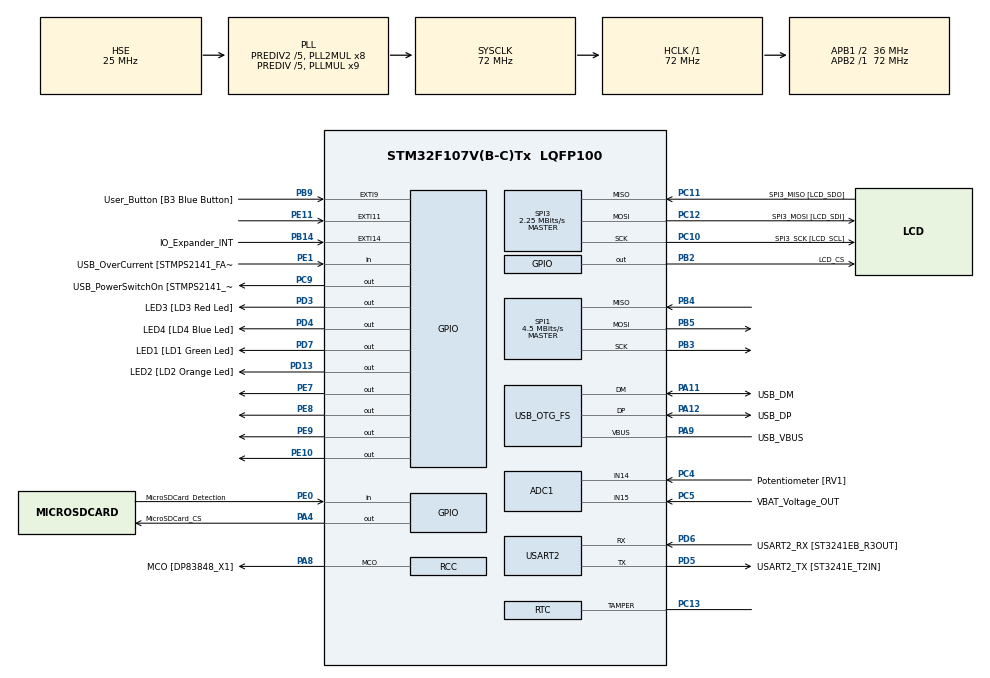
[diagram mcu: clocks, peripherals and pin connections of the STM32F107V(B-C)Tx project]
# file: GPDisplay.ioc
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Dma.SPI1_TX.1.Priority=DMA_PRIORITY_VERY_HIGH
PD12.GPIO_Label=MII_RXD3 [DP83848_RXD_3]
PD1.GPIO_Mode=GPIO_MODE_AF_PP
PB15.GPIO_Mode=GPIO_MODE_AF_PP
SPI3.Direction=SPI_DIRECTION_2LINES
PC10.GPIO_PuPd=GPIO_NOPULL
SPI3.VirtualType=VM_MASTER
FATFS._USE_LFN=1
SPI1.VirtualType=VM_MASTER
PA8.GPIO_Mode=GPIO_MODE_AF_PP
RCC.Prediv2=RCC_HSE_PREDIV2_DIV5
PA10.GPIO_PuPd=GPIO_NOPULL
PC12.Signal=SPI3_MOSI
PB14.GPIO_Label=IO_Expander_INT
PA14.GPIO_Label=TCK/SWCLK
PA3.GPIO_PuPd=GPIO_NOPULL
PC6.GPIO_Label=I2S_MCK [CS43L22_MCLK]
VP_RTC_VS_RTC_Activate.Mode=RTC_Enabled
PA6.GPIO_Label=IDD_Measurement
PB6.GPIO_Label=I2C1_SCK [STMPE811_SCLK]
PD10.GPIO_PuPd=GPIO_NOPULL
PA3.GPIO_Speed=GPIO_SPEED_FREQ_LOW
PB13.Signal=ETH_TXD1
PD3.GPIO_Speed=GPIO_SPEED_FREQ_LOW
PD6.GPIO_Label=USART2_RX [ST3241EB_R3OUT]
PC15-OSC32_OUT.GPIO_Label=PC15-OSC32_OUT
PE6.GPIO_Label=TRACE_D3
PC3.GPIO_Speed=GPIO_SPEED_FREQ_LOW
RCC.SYSCLKSource=RCC_SYSCLKSOURCE_PLLCLK
PA6.GPIO_Mode=GPIO_MODE_ANALOG
PB11.GPIO_Speed=GPIO_SPEED_FREQ_LOW
NVIC.DMA1_Channel3_IRQn=true\:0\:0\:false\:false\:true\:false\:true
PB7.GPIO_Mode=GPIO_MODE_AF_OD
Dma.SPI1_RX.0.Direction=DMA_PERIPH_TO_MEMORY
PD7.GPIO_PuPd=GPIO_NOPULL
SPI1.Direction=SPI_DIRECTION_2LINES
PB13.GPIO_Mode=GPIO_MODE_AF_PP
PD4.Signal=GPIO_Output
RCC.APB2TimFreq_Value=72000000
PC4.GPIO_Mode=GPIO_MODE_ANALOG
PB6.Signal=I2C1_SCL
SPI1.CalculateBaudRate=4.5 MBits/s
PC3.Signal=ETH_TX_CLK
PD0.Signal=CAN1_RX
PD8.Signal=ETH_RX_DV
PE5.Signal=SYS_TRACED2
PE1.Signal=GPIO_Input
PA1.GPIO_PuPd=GPIO_NOPULL
Dma.SPI1_TX.1.PeriphDataAlignment=DMA_PDATAALIGN_BYTE
PB2.Signal=GPIO_Output
PB3.Mode=Full_Duplex_Master
PC1.GPIO_PuPd=GPIO_NOPULL
SH.ADCx_IN15.0=ADC1_IN15,IN15
RCC.RTCClockSelection=RCC_RTCCLKSOURCE_LSE
PD1.GPIO_Label=CAN1_TX [SN65HVD230_D]
PB12.GPIO_Label=MII_TXD0/I2S_CMD [DP83848_TXD_0/CS43L22_LRCK]
Dma.SPI1_RX.0.PeriphInc=DMA_PINC_DISABLE
PC4.GPIO_Label=Potentiometer [RV1]
Dma.SPI1_TX.1.Mode=DMA_NORMAL
PE9.Signal=GPIO_Output
PD1.GPIO_Speed=GPIO_SPEED_FREQ_LOW
PD11.GPIO_Mode=GPIO_MODE_AF_PP
PE4.GPIO_Label=TRACE_D1
PA0-WKUP.GPIO_Mode=GPIO_MODE_AF_PP
PC11.GPIO_Speed=N/A
PD5.GPIO_Mode=GPIO_MODE_AF_PP
PD4.GPIO_ModeDefaultOutputPP=GPIO_MODE_OUTPUT_PP
PE2.Signal=SYS_TRACECLK
PA8.Signal=RCC_MCO
PE10.Signal=GPIO_Output
PB6.GPIO_PuPdOD=GPIO_PULLUP
PB2.GPIO_PuPd=GPIO_NOPULL
ADC1.SamplingTime-0\#ChannelRegularConversion=ADC_SAMPLETIME_1CYCLE_5
RCC.Prediv1Source=RCC_PREDIV1_SOURCE_PLL2
Mcu.Package=LQFP100
PB9.Signal=GPXTI9
PB14.GPIO_PuPd=GPIO_PULLUP
SPI3.Mode=SPI_MODE_MASTER
SH.ADCx_IN14.0=ADC1_IN14,IN14
PD12.Signal=ETH_RXD3
PA10.Signal=USB_OTG_FS_ID
PB9.GPIO_PuPd=GPIO_NOPULL
PC6.GPIO_PuPd=GPIO_NOPULL
PC11.Mode=Full_Duplex_Master
PC2.GPIO_Mode=GPIO_MODE_AF_PP
RCC.APB1TimFreq_Value=72000000
PD5.GPIO_Speed=GPIO_SPEED_FREQ_LOW
PC12.GPIO_PuPd=GPIO_NOPULL
PD3.GPIO_PuPd=GPIO_NOPULL
PB11.GPIO_Mode=GPIO_MODE_AF_PP
PD9.GPIO_PuPd=GPIO_NOPULL
PB2.GPIO_ModeDefaultOutputPP=GPIO_MODE_OUTPUT_PP
PA4.GPIO_Label=MicroSDCard_CS
PC6.GPIO_Speed=GPIO_SPEED_FREQ_LOW
PA8.GPIO_Speed=GPIO_SPEED_FREQ_HIGH
Dma.SPI1_TX.1.Instance=DMA1_Channel3
PA2.GPIO_Mode=GPIO_MODE_AF_PP
PB14.GPIO_ModeDefaultEXTI=GPIO_MODE_EVT_RISING
PD8.GPIO_Mode=GPIO_MODE_AF_PP
ADC1.Rank-0\#ChannelRegularConversion=1
PD9.GPIO_Label=MII_RXD0 [DP83848_RXD_0]
PA1.GPIO_Mode=GPIO_MODE_AF_PP
SH.ADCx_IN6.0=ADC1_IN6
PA9.GPIO_Label=USB_VBUS
PD3.Signal=GPIO_Output
PD9.GPIO_Mode=GPIO_MODE_AF_PP
PB8.GPIO_PuPd=GPIO_NOPULL
PC6.Signal=I2S2_MCK
PC2.Signal=ETH_TXD2
PB11.GPIO_Label=MII_TX_EN [DP83848_TX_EN]
PC9.PinState=GPIO_PIN_SET
PD7.Signal=GPIO_Output
PD1.Signal=CAN1_TX
PA11.GPIO_Label=USB_DM
PE1.GPIO_PuPd=GPIO_NOPULL
PD1.GPIO_PuPd=GPIO_NOPULL
RCC.APB1CLKDivider=RCC_HCLK_DIV2
PC14-OSC32_IN.Signal=RCC_OSC32_IN
PD6.Mode=Asynchronous
PA0-WKUP.GPIO_Label=MII_CRS [DP83848_CRS]
PA0-WKUP.Signal=ETH_CRS
PD0.GPIO_Speed=GPIO_SPEED_FREQ_LOW
USB_HOST0.BSP.STBoard=false
PD10.Signal=ETH_RXD1
PC10.GPIO_Mode=GPIO_MODE_AF_PP
PB8.GPIO_Label=MII_TXD3 [DP83848_TXD_3]
Dma.SPI1_TX.1.MemDataAlignment=DMA_MDATAALIGN_BYTE
PA8.GPIO_Label=MCO [DP83848_X1]
PD11.GPIO_Speed=GPIO_SPEED_FREQ_LOW
PA9.Signal=USB_OTG_FS_VBUS
PB13.GPIO_Speed=GPIO_SPEED_FREQ_LOW
OSC_IN.Signal=RCC_OSC_IN
PB14.Signal=GPXTI14
PC12.Mode=Full_Duplex_Master
PE1.GPIO_Label=USB_OverCurrent [STMPS2141_FAULT]
USB_HOST.VirtualModeFS=Cdc
PC13-TAMPER-RTC.Mode=Tamper
PB13.GPIO_PuPd=GPIO_NOPULL
PB15.GPIO_Label=I2S_DIN [CS43L22_SDIN]
PE8.Signal=GPIO_Output
SPI1.Mode=SPI_MODE_MASTER
PD4.GPIO_Speed=GPIO_SPEED_FREQ_LOW
PC11.GPIO_Mode=GPIO_MODE_INPUT
PA1.GPIO_Label=MII_RX_CLK [DP83848_RX_CLK]
Dma.SPI1_RX.0.PeriphDataAlignment=DMA_PDATAALIGN_HALFWORD
PC9.GPIO_PuPd=GPIO_NOPULL
PC1.GPIO_Speed=GPIO_SPEED_FREQ_LOW
PC6.GPIO_Mode=GPIO_MODE_AF_PP
PB7.GPIO_PuPdOD=GPIO_PULLUP
PA13.Mode=Serial_Wire
PA4.Signal=GPIO_Output
PC12.GPIO_Mode=GPIO_MODE_AF_PP
PB5.Signal=SPI1_MOSI
ADC1.master=1
OSC_IN.Mode=HSE-External-Oscillator
PD11.Signal=ETH_RXD2
RCC.HSEDivPLL=RCC_HSE_PREDIV_DIV5
PE5.GPIO_Label=TRACE_D2
PC12.GPIO_Label=SPI3_MOSI [LCD_SDI]
PA11.Signal=USB_OTG_FS_DM
PC5.GPIO_Mode=GPIO_MODE_ANALOG
ProjectManager.HeapSize=0x200
PD0.GPIO_PuPd=GPIO_PULLUP
Dma.SPI1_RX.0.Priority=DMA_PRIORITY_VERY_HIGH
PD8.GPIO_Speed=GPIO_SPEED_FREQ_LOW
USB_HOST.USBH_HandleTypeDef=hUsbHostFS
PC9.GPIO_Speed=GPIO_SPEED_FREQ_LOW
NVIC.PriorityGroup=NVIC_PRIORITYGROUP_4
PE3.Signal=SYS_TRACED0
PC3.GPIO_Label=MII_TX_CLK [DP83848_TX_CLK]
PA0-WKUP.GPIO_PuPd=GPIO_NOPULL
PA8.Mode=Clock-out
PB6.GPIO_Speed=GPIO_SPEED_FREQ_LOW
PB12.GPIO_PuPd=GPIO_NOPULL
USB_HOST0.BSP.mode=Output
PE0.GPIO_Mode=GPIO_MODE_INPUT
PC1.Signal=ETH_MDC
Mcu.Family=STM32F1
PC3.GPIO_Mode=GPIO_MODE_AF_PP
PA2.GPIO_PuPd=GPIO_NOPULL
OSC_OUT.GPIO_Label=OSC_OUT
PB6.GPIO_Mode=GPIO_MODE_AF_OD
PC10.Signal=SPI3_SCK
PB2.GPIO_Speed=GPIO_SPEED_FREQ_LOW
PA2.GPIO_Speed=GPIO_SPEED_FREQ_LOW
PD9.GPIO_Speed=GPIO_SPEED_FREQ_LOW
Dma.SPI1_TX.1.PeriphInc=DMA_PINC_DISABLE
PD0.GPIO_Label=CAN1_RX [SN65HVD230_R]
PA11.Mode=Host_Only
PC10.GPIO_Speed=GPIO_SPEED_FREQ_LOW
PC2.GPIO_Speed=GPIO_SPEED_FREQ_LOW
PB11.GPIO_PuPd=GPIO_NOPULL
PB13.GPIO_Label=MII_TXD1/I2S_CK [DP83848_TXD_1/CS43L22_SCLK]
PD8.GPIO_PuPd=GPIO_NOPULL
PB11.Signal=ETH_TX_EN
PB15.Signal=I2S2_SD
ProjectManager.StackSize=0x400
PD13.Signal=GPIO_Output
PD11.GPIO_PuPd=GPIO_NOPULL
PA15.GPIO_Label=TDI
PC11.GPIO_PuPd=GPIO_NOPULL
PA12.Signal=USB_OTG_FS_DP
PE1.GPIO_Mode=GPIO_MODE_INPUT
PD11.GPIO_Label=MII_RXD2 [DP83848_RXD_2]
RCC.HCLKFreq_Value=72000000
PB9.GPIO_ModeDefaultEXTI=GPIO_MODE_EVT_RISING
OSC_OUT.Mode=HSE-External-Oscillator
USB_HOST0.BSP.ip=GPIO
OSC_OUT.Signal=RCC_OSC_OUT
RCC.AHBFreq_Value=72000000
PD5.Mode=Asynchronous
PA9.GPIO_Mode=GPIO_MODE_INPUT
PC1.GPIO_Mode=GPIO_MODE_AF_PP
ADC1.Channel-0\#ChannelRegularConversion=ADC_CHANNEL_14
RCC.HSE_VALUE=25000000
PA0-WKUP.GPIO_Speed=GPIO_SPEED_FREQ_LOW
PA4.GPIO_PuPd=GPIO_NOPULL
RCC.PLLMUL=RCC_PLL_MUL9
PA4.GPIO_Speed=GPIO_SPEED_FREQ_LOW
PD7.GPIO_Speed=GPIO_SPEED_FREQ_LOW
PA6.GPIO_PuPd=GPIO_NOPULL
PB4.Mode=Full_Duplex_Master
PC14-OSC32_IN.Mode=LSE-External-Oscillator
PA14.Mode=Serial_Wire
PC11.GPIO_Label=SPI3_MISO [LCD_SDO]
PB5.Mode=Full_Duplex_Master
PA10.GPIO_Label=USB_ID
PB7.Signal=I2C1_SDA
PD10.GPIO_Speed=GPIO_SPEED_FREQ_LOW
USB_HOST0.BSP.i2creg=0
PE4.Signal=SYS_TRACED1
PD12.GPIO_Mode=GPIO_MODE_AF_PP
PD7.GPIO_Label=LED1 [LD1 Green Led]
PD6.GPIO_Mode=GPIO_MODE_AF_PP
PB7.GPIO_Label=I2C1_SDA [STMPE811_SDA]
USB_HOST0.BSP.i2caddr=0
PB12.GPIO_Mode=GPIO_MODE_AF_PP
PD13.GPIO_Label=LED2 [LD2 Orange Led]
PA6.Signal=ADCx_IN6
PB15.GPIO_PuPd=GPIO_NOPULL
USART2.VirtualMode=VM_ASYNC
PD5.GPIO_Label=USART2_TX [ST3241E_T2IN]
NVIC.OTG_FS_IRQn=true\:0\:0\:false\:false\:true\:true\:true
PA2.GPIO_Label=MII_MDIO [DP83848_MDIO]
USB_OTG_FS.VirtualMode=Host_Only
PA15.Signal=SYS_JTDI
PA4.GPIO_ModeDefaultOutputPP=GPIO_MODE_OUTPUT_PP
PE0.GPIO_Label=MicroSDCard_Detection
USB_HOST0.BSP.name=Drive_VBUS_FS
Dma.Request1=SPI1_TX
PD0.GPIO_Mode=GPIO_MODE_INPUT
PC14-OSC32_IN.GPIO_Label=PC14-OSC32_IN
PC5.Signal=ADCx_IN15
PD3.GPIO_Label=LED3 [LD3 Red Led]
PE7.Signal=GPIO_Output
PD6.Signal=USART2_RX
Dma.Request0=SPI1_RX
SPI1.BaudRatePrescaler=SPI_BAUDRATEPRESCALER_16
OSC_IN.GPIO_Label=OSC_IN
PC2.GPIO_Label=MII_TXD2 [DP83848_TXD_2]
PE2.GPIO_Label=TRACE_CK
PB4.Signal=SPI1_MISO
PA3.Signal=ETH_COL
PB7.GPIO_Speed=GPIO_SPEED_FREQ_LOW
PE0.GPIO_PuPd=GPIO_PULLUP
PC15-OSC32_OUT.Mode=LSE-External-Oscillator
Dma.SPI1_TX.1.MemInc=DMA_MINC_ENABLE
PD12.GPIO_Speed=GPIO_SPEED_FREQ_LOW
PB9.GPIO_Label=User_Button [B3 Blue Button]
PC10.GPIO_Label=SPI3_SCK [LCD_SCL]
PC9.GPIO_Label=USB_PowerSwitchOn [STMPS2141_EN]
PC4.GPIO_PuPd=GPIO_NOPULL
PC11.Signal=SPI3_MISO
USB_HOST0.BSP.solution=PC9
PC4.Signal=ADCx_IN14
PC10.Mode=Full_Duplex_Master
USB_HOST.BSP.number=1
PC13-TAMPER-RTC.Signal=RTC_TAMPER
PD9.Signal=ETH_RXD0
PD5.Signal=USART2_TX
Dma.SPI1_RX.0.Mode=DMA_CIRCULAR
PC5.GPIO_PuPd=GPIO_NOPULL
Dma.SPI1_TX.1.Direction=DMA_MEMORY_TO_PERIPH
PA9.GPIO_PuPd=GPIO_NOPULL
PA12.GPIO_Label=USB_DP
PD8.GPIO_Label=MII_RX_DV [DP83848_RX_DV]
PA10.GPIO_Mode=GPIO_MODE_INPUT
RCC.ADCPresc=RCC_ADCPCLK2_DIV6
PD10.GPIO_Mode=GPIO_MODE_AF_PP
PA13.Signal=SYS_JTMS-SWDIO
PD4.GPIO_PuPd=GPIO_NOPULL
PA9.Mode=Activate_VBUS
NVIC.DMA1_Channel2_IRQn=true\:0\:0\:false\:false\:true\:false\:true
ProjectManager.TargetToolchain=STM32CubeIDE
PA3.GPIO_Mode=GPIO_MODE_AF_PP
RCC.USBFreq_Value=48000000
PD10.GPIO_Label=MII_RXD1 [DP83848_RXD_1]
PE11.Signal=GPXTI11
PC15-OSC32_OUT.Signal=RCC_OSC32_OUT
PA1.Signal=ETH_RX_CLK
PB12.GPIO_Speed=GPIO_SPEED_FREQ_LOW
VP_FATFS_VS_Generic.Mode=User_defined
board=STM3210C-EVAL
PD13.GPIO_Speed=GPIO_SPEED_FREQ_LOW
RCC.APB2Freq_Value=72000000
USB_HOST0.BSP.api=Unknown
SPI3.CalculateBaudRate=2.25 MBits/s
PD4.GPIO_Label=LED4 [LD4 Blue Led]
PA1.GPIO_Speed=GPIO_SPEED_FREQ_LOW
PB15.GPIO_Speed=GPIO_SPEED_FREQ_LOW
Dma.SPI1_RX.0.Instance=DMA1_Channel2
PC9.GPIO_ModeDefaultOutputPP=GPIO_MODE_OUTPUT_PP
SPI3.BaudRatePrescaler=SPI_BAUDRATEPRESCALER_16
PC1.GPIO_Label=MII_MDC [DP83848_MDC]
RCC.RCC_MCOSource=RCC_MCO1SOURCE_HSE
PD13.GPIO_PuPd=GPIO_NOPULL
PD5.GPIO_PuPd=GPIO_PULLUP
Dma.SPI1_RX.0.MemDataAlignment=DMA_MDATAALIGN_HALFWORD
PC2.GPIO_PuPd=GPIO_NOPULL
PE6.Signal=SYS_TRACED3
Mcu.Name=STM32F107V(B-C)Tx
PE0.Signal=GPIO_Input
Dma.SPI1_RX.0.MemInc=DMA_MINC_ENABLE
PA2.Signal=ETH_MDIO
PA13.GPIO_Label=TMS/SWDIO
FATFS._MAX_SS=4096
PB3.Signal=SPI1_SCK
RCC.SYSCLKFreq_VALUE=72000000
PA12.Mode=Host_Only
VP_USB_HOST_VS_USB_HOST_CDC_FS.Mode=CDC_FS
PC5.GPIO_Label=VBAT_Voltage_OUT
PD13.GPIO_ModeDefaultOutputPP=GPIO_MODE_OUTPUT_PP
PA14.Signal=SYS_JTCK-SWCLK
PB2.GPIO_Label=LCD_CS
PD3.GPIO_ModeDefaultOutputPP=GPIO_MODE_OUTPUT_PP
PA8.GPIO_PuPd=GPIO_NOPULL
ADC1.NbrOfConversionFlag=1
PB8.Signal=ETH_TXD3
PE3.GPIO_Label=TRACE_D0
PC9.Signal=GPIO_Output
PB8.GPIO_Mode=GPIO_MODE_AF_PP
RCC.APB1Freq_Value=36000000
PB8.GPIO_Speed=GPIO_SPEED_FREQ_LOW
PC12.GPIO_Speed=GPIO_SPEED_FREQ_LOW
PD6.GPIO_Speed=GPIO_SPEED_FREQ_LOW
PD7.GPIO_ModeDefaultOutputPP=GPIO_MODE_OUTPUT_PP
PB12.Signal=ETH_TXD0
PC3.GPIO_PuPd=GPIO_NOPULL
PD12.GPIO_PuPd=GPIO_NOPULL
PA3.GPIO_Label=MII_COL [DP83848_COL]
PD6.GPIO_PuPd=GPIO_PULLUP
USB_HOST0.BSP.instance=PC9

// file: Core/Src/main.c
/* USER CODE BEGIN Header */
/**
 ******************************************************************************
 * @file           : main.c
 * @brief          : Main program body
 ******************************************************************************
 * @attention
 *
 * <h2><center>&copy; Copyright (c) 2021 STMicroelectronics.
 * All rights reserved.</center></h2>
 *
 * This software component is licensed by ST under Ultimate Liberty license
 * SLA0044, the "License"; You may not use this file except in compliance with
 * the License. You may obtain a copy of the License at:
 *                             www.st.com/SLA0044
 *
 ******************************************************************************
 */
/* USER CODE END Header */
#include "main.h"
#include "fatfs.h"

/* USER CODE BEGIN Includes */
#include <stdio.h>
#include <stdlib.h>
#include <time.h>
/* USER CODE END Includes */

ADC_HandleTypeDef hadc1;

RTC_HandleTypeDef hrtc;

SPI_HandleTypeDef hspi1;
SPI_HandleTypeDef hspi3;
DMA_HandleTypeDef hdma_spi1_rx;
DMA_HandleTypeDef hdma_spi1_tx;

UART_HandleTypeDef huart2;

void SystemClock_Config(void);
static void MX_GPIO_Init(void);
static void MX_DMA_Init(void);
static void MX_ADC1_Init(void);
static void MX_RTC_Init(void);
static void MX_USART2_UART_Init(void);
static void MX_SPI1_Init(void);
static void MX_SPI3_Init(void);

/* USER CODE BEGIN 0 */
uint8_t SPI_DMA_FL = 0;
uint32_t SPI_DMA_CNT = 1;

/* USER CODE END 0 */

int main(void) {

	/* MCU Configuration--------------------------------------------------------*/

	/* Reset of all peripherals, Initializes the Flash interface and the Systick. */
	HAL_Init();
	srand((unsigned int) time(NULL));

	/* Configure the system clock */
	SystemClock_Config();

	/* USER CODE BEGIN SysInit */
	state = MAINMENU;
	oldState = MAINMENU;
	/* USER CODE END SysInit */

	/* Initialize all configured peripherals */
	MX_GPIO_Init();
	MX_DMA_Init();
	MX_ADC1_Init();
	MX_RTC_Init();
	MX_USART2_UART_Init();
	MX_SPI1_Init();
	MX_FATFS_Init();
	MX_SPI3_Init();
	/* USER CODE BEGIN 2 */
	X = -50.0;
	GUI_init();
	ILI9163_newFrame();
	sd_init();
	scan_sd("/");
	HAL_NVIC_SetPriority(EXTI15_10_IRQn, 1, 0);
	HAL_NVIC_EnableIRQ(EXTI15_10_IRQn);

/*

	if(fresult != FR_OK)
		ILI9163_drawString(0, 10, Font_7x10, GREEN, "error in mounting sd");
	else
		ILI9163_drawString(0, 20, Font_7x10, GREEN, "Success ");

	  	f_getfree("", &fre_clust, &pfs);

	  	total = (uint32_t)((pfs->n_fatent - 2) * pfs->csize * 0.5);
	  	sprintf (buffer, "Total Size: %lu",total);
	  	ILI9163_drawString(0, 30, Font_7x10, GREEN,buffer);
	  	bufclear();
	  	free_space = (uint32_t)(fre_clust * pfs->csize * 0.5);
	  	sprintf (buffer, "Free Space: %lu",free_space);
	  	ILI9163_drawString(0, 50, Font_7x10, GREEN,buffer);
	  	bufclear();

	  	ILI9163_render();

	  	fresult = f_open(&fil, "file2.txt", FA_CREATE_ALWAYS | FA_WRITE);

	  	strcpy (buffer, "This is File2.txt, written using ...f_write... and it says Hello from Controllerstech");

	  	fresult = f_write(&fil, buffer, bufsize(buffer), &bw);

	  	ILI9163_drawString(0, 70, Font_7x10, GREEN,"File2.txt created");

	  	f_close(&fil);

	  	ILI9163_render();
	  	// clearing buffer to show that result obtained is from the file
	  	bufclear();

	  	fresult = f_open(&fil, "file2.txt", FA_READ);
	  	if (fresult == FR_OK) ILI9163_drawString(0, 90, Font_7x10, GREEN,"file2.txt open");

	  	f_read (&fil, buffer, f_size(&fil), &br);
	  	ILI9163_drawString(0, 110, Font_7x10, GREEN,buffer);
	  	ILI9163_render();

	  	f_close(&fil);

	  	bufclear();
*/
  /* USER CODE END 2 */

  /* Infinite loop */
  /* USER CODE BEGIN WHILE */

	unsigned long i = 0;
	init_exp_file("exp4");
	for (int i = 0; i < 30; ++i) {
		//add_record_experiment(0.0, 0.5);

	}

	close_file();
	//parse_experiment_file("exp4.gpe");
	 while (1) {
		 GUI_drawGUI(huart2);

		 /*
		  i++;
		 if(i > 500000){
			 if(state == PLOT)
				 GUI_drawGUI(huart2);
			 i = 0;
		 }
		  * */

    /* USER CODE END WHILE */

 }
}

void SystemClock_Config(void)
{
  RCC_OscInitTypeDef RCC_OscInitStruct = {0};
  RCC_ClkInitTypeDef RCC_ClkInitStruct = {0};
  RCC_PeriphCLKInitTypeDef PeriphClkInit = {0};

  /** Initializes the RCC Oscillators according to the specified parameters
  * in the RCC_OscInitTypeDef structure.
  */
  RCC_OscInitStruct.OscillatorType = RCC_OSCILLATORTYPE_HSE|RCC_OSCILLATORTYPE_LSE;
  RCC_OscInitStruct.HSEState = RCC_HSE_ON;
  RCC_OscInitStruct.HSEPredivValue = RCC_HSE_PREDIV_DIV5;
  RCC_OscInitStruct.LSEState = RCC_LSE_ON;
  RCC_OscInitStruct.HSIState = RCC_HSI_ON;
  RCC_OscInitStruct.Prediv1Source = RCC_PREDIV1_SOURCE_PLL2;
  RCC_OscInitStruct.PLL.PLLState = RCC_PLL_ON;
  RCC_OscInitStruct.PLL.PLLSource = RCC_PLLSOURCE_HSE;
  RCC_OscInitStruct.PLL.PLLMUL = RCC_PLL_MUL9;
  RCC_OscInitStruct.PLL2.PLL2State = RCC_PLL2_ON;
  RCC_OscInitStruct.PLL2.PLL2MUL = RCC_PLL2_MUL8;
  RCC_OscInitStruct.PLL2.HSEPrediv2Value = RCC_HSE_PREDIV2_DIV5;
  if (HAL_RCC_OscConfig(&RCC_OscInitStruct) != HAL_OK)
  {
    Error_Handler();
  }
  /** Initializes the CPU, AHB and APB buses clocks
  */
  RCC_ClkInitStruct.ClockType = RCC_CLOCKTYPE_HCLK|RCC_CLOCKTYPE_SYSCLK
                              |RCC_CLOCKTYPE_PCLK1|RCC_CLOCKTYPE_PCLK2;
  RCC_ClkInitStruct.SYSCLKSource = RCC_SYSCLKSOURCE_PLLCLK;
  RCC_ClkInitStruct.AHBCLKDivider = RCC_SYSCLK_DIV1;
  RCC_ClkInitStruct.APB1CLKDivider = RCC_HCLK_DIV2;
  RCC_ClkInitStruct.APB2CLKDivider = RCC_HCLK_DIV1;

  if (HAL_RCC_ClockConfig(&RCC_ClkInitStruct, FLASH_LATENCY_2) != HAL_OK)
  {
    Error_Handler();
  }
  PeriphClkInit.PeriphClockSelection = RCC_PERIPHCLK_RTC|RCC_PERIPHCLK_ADC
                              |RCC_PERIPHCLK_USB;
  PeriphClkInit.RTCClockSelection = RCC_RTCCLKSOURCE_LSE;
  PeriphClkInit.AdcClockSelection = RCC_ADCPCLK2_DIV6;
  PeriphClkInit.UsbClockSelection = RCC_USBCLKSOURCE_PLL_DIV3;
  if (HAL_RCCEx_PeriphCLKConfig(&PeriphClkInit) != HAL_OK)
  {
    Error_Handler();
  }
  HAL_RCC_MCOConfig(RCC_MCO, RCC_MCO1SOURCE_HSE, RCC_MCODIV_1);
  /** Configure the Systick interrupt time
  */
  __HAL_RCC_PLLI2S_ENABLE();
}

static void MX_ADC1_Init(void)
{

  ADC_ChannelConfTypeDef sConfig = {0};

  /** Common config
  */
  hadc1.Instance = ADC1;
  hadc1.Init.ScanConvMode = ADC_SCAN_DISABLE;
  hadc1.Init.ContinuousConvMode = DISABLE;
  hadc1.Init.DiscontinuousConvMode = DISABLE;
  hadc1.Init.ExternalTrigConv = ADC_SOFTWARE_START;
  hadc1.Init.DataAlign = ADC_DATAALIGN_RIGHT;
  hadc1.Init.NbrOfConversion = 1;
  if (HAL_ADC_Init(&hadc1) != HAL_OK)
  {
    Error_Handler();
  }
  /** Configure Regular Channel
  */
  sConfig.Channel = ADC_CHANNEL_14;
  sConfig.Rank = ADC_REGULAR_RANK_1;
  sConfig.SamplingTime = ADC_SAMPLETIME_1CYCLE_5;
  if (HAL_ADC_ConfigChannel(&hadc1, &sConfig) != HAL_OK)
  {
    Error_Handler();
  }

}

static void MX_RTC_Init(void)
{

  RTC_TamperTypeDef sTamper = {0};

  /** Initialize RTC Only
  */
  hrtc.Instance = RTC;
  hrtc.Init.AsynchPrediv = RTC_AUTO_1_SECOND;
  hrtc.Init.OutPut = RTC_OUTPUTSOURCE_NONE;
  if (HAL_RTC_Init(&hrtc) != HAL_OK)
  {
    Error_Handler();
  }
  /** Enable the RTC Tamper
  */
  sTamper.Tamper = RTC_TAMPER_1;
  sTamper.Trigger = RTC_TAMPERTRIGGER_LOWLEVEL;
  if (HAL_RTCEx_SetTamper(&hrtc, &sTamper) != HAL_OK)
  {
    Error_Handler();
  }

}

static void MX_SPI1_Init(void)
{

  /* SPI1 parameter configuration*/
  hspi1.Instance = SPI1;
  hspi1.Init.Mode = SPI_MODE_MASTER;
  hspi1.Init.Direction = SPI_DIRECTION_2LINES;
  hspi1.Init.DataSize = SPI_DATASIZE_8BIT;
  hspi1.Init.CLKPolarity = SPI_POLARITY_LOW;
  hspi1.Init.CLKPhase = SPI_PHASE_1EDGE;
  hspi1.Init.NSS = SPI_NSS_SOFT;
  hspi1.Init.BaudRatePrescaler = SPI_BAUDRATEPRESCALER_16;
  hspi1.Init.FirstBit = SPI_FIRSTBIT_MSB;
  hspi1.Init.TIMode = SPI_TIMODE_DISABLE;
  hspi1.Init.CRCCalculation = SPI_CRCCALCULATION_DISABLE;
  hspi1.Init.CRCPolynomial = 10;
  if (HAL_SPI_Init(&hspi1) != HAL_OK)
  {
    Error_Handler();
  }

}

static void MX_SPI3_Init(void)
{

  /* SPI3 parameter configuration*/
  hspi3.Instance = SPI3;
  hspi3.Init.Mode = SPI_MODE_MASTER;
  hspi3.Init.Direction = SPI_DIRECTION_2LINES;
  hspi3.Init.DataSize = SPI_DATASIZE_8BIT;
  hspi3.Init.CLKPolarity = SPI_POLARITY_LOW;
  hspi3.Init.CLKPhase = SPI_PHASE_1EDGE;
  hspi3.Init.NSS = SPI_NSS_SOFT;
  hspi3.Init.BaudRatePrescaler = SPI_BAUDRATEPRESCALER_16;
  hspi3.Init.FirstBit = SPI_FIRSTBIT_MSB;
  hspi3.Init.TIMode = SPI_TIMODE_DISABLE;
  hspi3.Init.CRCCalculation = SPI_CRCCALCULATION_DISABLE;
  hspi3.Init.CRCPolynomial = 10;
  if (HAL_SPI_Init(&hspi3) != HAL_OK)
  {
    Error_Handler();
  }

}

static void MX_USART2_UART_Init(void)
{

  huart2.Instance = USART2;
  huart2.Init.BaudRate = 115200;
  huart2.Init.WordLength = UART_WORDLENGTH_8B;
  huart2.Init.StopBits = UART_STOPBITS_1;
  huart2.Init.Parity = UART_PARITY_NONE;
  huart2.Init.Mode = UART_MODE_TX_RX;
  huart2.Init.HwFlowCtl = UART_HWCONTROL_NONE;
  huart2.Init.OverSampling = UART_OVERSAMPLING_16;
  if (HAL_UART_Init(&huart2) != HAL_OK)
  {
    Error_Handler();
  }

}

static void MX_DMA_Init(void)
{

  /* DMA controller clock enable */
  __HAL_RCC_DMA1_CLK_ENABLE();

  /* DMA interrupt init */
  /* DMA1_Channel2_IRQn interrupt configuration */
  HAL_NVIC_SetPriority(DMA1_Channel2_IRQn, 0, 0);
  HAL_NVIC_EnableIRQ(DMA1_Channel2_IRQn);
  /* DMA1_Channel3_IRQn interrupt configuration */
  HAL_NVIC_SetPriority(DMA1_Channel3_IRQn, 0, 0);
  HAL_NVIC_EnableIRQ(DMA1_Channel3_IRQn);

}

static void MX_GPIO_Init(void)
{
  GPIO_InitTypeDef GPIO_InitStruct = {0};

  /* GPIO Ports Clock Enable */
  __HAL_RCC_GPIOE_CLK_ENABLE();
  __HAL_RCC_GPIOC_CLK_ENABLE();
  __HAL_RCC_GPIOA_CLK_ENABLE();
  __HAL_RCC_GPIOB_CLK_ENABLE();
  __HAL_RCC_GPIOD_CLK_ENABLE();

  /*Configure GPIO pin Output Level */
  HAL_GPIO_WritePin(MicroSDCard_CS_GPIO_Port, MicroSDCard_CS_Pin, GPIO_PIN_RESET);

  /*Configure GPIO pin Output Level */
  HAL_GPIO_WritePin(LCD_CS_GPIO_Port, LCD_CS_Pin, GPIO_PIN_RESET);

  /*Configure GPIO pin Output Level */
  HAL_GPIO_WritePin(GPIOE, GPIO_PIN_7|GPIO_PIN_8|GPIO_PIN_9|GPIO_PIN_10, GPIO_PIN_RESET);

  /*Configure GPIO pin Output Level */
  HAL_GPIO_WritePin(GPIOD, LED2_Pin|LED3_Pin|LED4_Pin|LED1_Pin, GPIO_PIN_RESET);

  /*Configure GPIO pin Output Level */
  HAL_GPIO_WritePin(USB_PowerSwitchOn_GPIO_Port, USB_PowerSwitchOn_Pin, GPIO_PIN_SET);

  /*Configure GPIO pins : MII_MDC_Pin MII_TXD2_Pin MII_TX_CLK_Pin I2S_MCK_Pin */
  GPIO_InitStruct.Pin = MII_MDC_Pin|MII_TXD2_Pin|MII_TX_CLK_Pin|I2S_MCK_Pin;
  GPIO_InitStruct.Mode = GPIO_MODE_AF_PP;
  GPIO_InitStruct.Speed = GPIO_SPEED_FREQ_LOW;
  HAL_GPIO_Init(GPIOC, &GPIO_InitStruct);

  /*Configure GPIO pins : MII_CRS_Pin MII_RX_CLK_Pin MII_MDIO_Pin MII_COL_Pin */
  GPIO_InitStruct.Pin = MII_CRS_Pin|MII_RX_CLK_Pin|MII_MDIO_Pin|MII_COL_Pin;
  GPIO_InitStruct.Mode = GPIO_MODE_AF_PP;
  GPIO_InitStruct.Pull = GPIO_NOPULL;
  HAL_GPIO_Init(GPIOA, &GPIO_InitStruct);

  /*Configure GPIO pin : MicroSDCard_CS_Pin */
  GPIO_InitStruct.Pin = MicroSDCard_CS_Pin;
  GPIO_InitStruct.Mode = GPIO_MODE_OUTPUT_PP;
  GPIO_InitStruct.Pull = GPIO_NOPULL;
  GPIO_InitStruct.Speed = GPIO_SPEED_FREQ_LOW;
  HAL_GPIO_Init(MicroSDCard_CS_GPIO_Port, &GPIO_InitStruct);

  /*Configure GPIO pin : LCD_CS_Pin */
  GPIO_InitStruct.Pin = LCD_CS_Pin;
  GPIO_InitStruct.Mode = GPIO_MODE_OUTPUT_PP;
  GPIO_InitStruct.Pull = GPIO_NOPULL;
  GPIO_InitStruct.Speed = GPIO_SPEED_FREQ_LOW;
  HAL_GPIO_Init(LCD_CS_GPIO_Port, &GPIO_InitStruct);

  /*Configure GPIO pins : PE7 PE8 PE9 PE10 */
  GPIO_InitStruct.Pin = GPIO_PIN_7|GPIO_PIN_8|GPIO_PIN_9|GPIO_PIN_10;
  GPIO_InitStruct.Mode = GPIO_MODE_OUTPUT_PP;
  GPIO_InitStruct.Pull = GPIO_NOPULL;
  GPIO_InitStruct.Speed = GPIO_SPEED_FREQ_LOW;
  HAL_GPIO_Init(GPIOE, &GPIO_InitStruct);

  /*Configure GPIO pin : PE11 */
  GPIO_InitStruct.Pin = GPIO_PIN_11;
  GPIO_InitStruct.Mode = GPIO_MODE_IT_RISING_FALLING;
  GPIO_InitStruct.Pull = GPIO_NOPULL;
  HAL_GPIO_Init(GPIOE, &GPIO_InitStruct);

  /*Configure GPIO pins : MII_TX_EN_Pin MII_TXD0_I2S_CMD_Pin MII_TXD1_I2S_CK_Pin I2S_DIN_Pin
                           MII_TXD3_Pin */
  GPIO_InitStruct.Pin = MII_TX_EN_Pin|MII_TXD0_I2S_CMD_Pin|MII_TXD1_I2S_CK_Pin|I2S_DIN_Pin
                          |MII_TXD3_Pin;
  GPIO_InitStruct.Mode = GPIO_MODE_AF_PP;
  GPIO_InitStruct.Speed = GPIO_SPEED_FREQ_LOW;
  HAL_GPIO_Init(GPIOB, &GPIO_InitStruct);

  /*Configure GPIO pin : IO_Expander_INT_Pin */
  GPIO_InitStruct.Pin = IO_Expander_INT_Pin;
  GPIO_InitStruct.Mode = GPIO_MODE_EVT_RISING;
  GPIO_InitStruct.Pull = GPIO_PULLUP;
  HAL_GPIO_Init(IO_Expander_INT_GPIO_Port, &GPIO_InitStruct);

  /*Configure GPIO pins : MII_RX_DV_Pin MII_RXD0_Pin MII_RXD1_Pin MII_RXD2_Pin
                           MII_RXD3_Pin CAN1_TX_Pin */
  GPIO_InitStruct.Pin = MII_RX_DV_Pin|MII_RXD0_Pin|MII_RXD1_Pin|MII_RXD2_Pin
                          |MII_RXD3_Pin|CAN1_TX_Pin;
  GPIO_InitStruct.Mode = GPIO_MODE_AF_PP;
  GPIO_InitStruct.Pull = GPIO_NOPULL;
  HAL_GPIO_Init(GPIOD, &GPIO_InitStruct);

  /*Configure GPIO pins : LED2_Pin LED3_Pin LED4_Pin LED1_Pin */
  GPIO_InitStruct.Pin = LED2_Pin|LED3_Pin|LED4_Pin|LED1_Pin;
  GPIO_InitStruct.Mode = GPIO_MODE_OUTPUT_PP;
  GPIO_InitStruct.Pull = GPIO_NOPULL;
  GPIO_InitStruct.Speed = GPIO_SPEED_FREQ_LOW;
  HAL_GPIO_Init(GPIOD, &GPIO_InitStruct);

  /*Configure GPIO pin : USB_PowerSwitchOn_Pin */
  GPIO_InitStruct.Pin = USB_PowerSwitchOn_Pin;
  GPIO_InitStruct.Mode = GPIO_MODE_OUTPUT_PP;
  GPIO_InitStruct.Pull = GPIO_NOPULL;
  GPIO_InitStruct.Speed = GPIO_SPEED_FREQ_LOW;
  HAL_GPIO_Init(USB_PowerSwitchOn_GPIO_Port, &GPIO_InitStruct);

  /*Configure GPIO pin : MCO_Pin */
  GPIO_InitStruct.Pin = MCO_Pin;
  GPIO_InitStruct.Mode = GPIO_MODE_AF_PP;
  GPIO_InitStruct.Speed = GPIO_SPEED_FREQ_HIGH;
  HAL_GPIO_Init(MCO_GPIO_Port, &GPIO_InitStruct);

  /*Configure GPIO pin : CAN1_RX_Pin */
  GPIO_InitStruct.Pin = CAN1_RX_Pin;
  GPIO_InitStruct.Mode = GPIO_MODE_INPUT;
  GPIO_InitStruct.Pull = GPIO_PULLUP;
  HAL_GPIO_Init(CAN1_RX_GPIO_Port, &GPIO_InitStruct);

  /*Configure GPIO pins : I2C1_SCK_Pin I2C1_SDA_Pin */
  GPIO_InitStruct.Pin = I2C1_SCK_Pin|I2C1_SDA_Pin;
  GPIO_InitStruct.Mode = GPIO_MODE_AF_OD;
  GPIO_InitStruct.Speed = GPIO_SPEED_FREQ_LOW;
  HAL_GPIO_Init(GPIOB, &GPIO_InitStruct);

  /*Configure GPIO pin : User_Button_Pin */
  GPIO_InitStruct.Pin = User_Button_Pin;
  GPIO_InitStruct.Mode = GPIO_MODE_EVT_RISING;
  GPIO_InitStruct.Pull = GPIO_NOPULL;
  HAL_GPIO_Init(User_Button_GPIO_Port, &GPIO_InitStruct);

  /*Configure GPIO pin : MicroSDCard_Detection_Pin */
  GPIO_InitStruct.Pin = MicroSDCard_Detection_Pin;
  GPIO_InitStruct.Mode = GPIO_MODE_INPUT;
  GPIO_InitStruct.Pull = GPIO_PULLUP;
  HAL_GPIO_Init(MicroSDCard_Detection_GPIO_Port, &GPIO_InitStruct);

  /*Configure GPIO pin : USB_OverCurrent_Pin */
  GPIO_InitStruct.Pin = USB_OverCurrent_Pin;
  GPIO_InitStruct.Mode = GPIO_MODE_INPUT;
  GPIO_InitStruct.Pull = GPIO_NOPULL;
  HAL_GPIO_Init(USB_OverCurrent_GPIO_Port, &GPIO_InitStruct);

  /*Configure peripheral I/O remapping */
  __HAL_AFIO_REMAP_ETH_ENABLE();

  /*Configure peripheral I/O remapping */
  __HAL_AFIO_REMAP_CAN1_3();

}

/* USER CODE BEGIN 4 */
void HAL_SPI_TxCpltCallback(SPI_HandleTypeDef *hspi) // Your TxCpltCallback
{
	SPI_DMA_CNT--;
	if (SPI_DMA_CNT == 0) {
		HAL_SPI_DMAStop(&hspi1);
		SPI_DMA_CNT = 1;
		SPI_DMA_FL = 1;
	}
}

void exp_init(){
	maxY = -999.0f;
	minY = 999.0f;
	init_exp_file("experiment");
	flastp = 0;
	//expDataYch1 = malloc(MAXDATACOUNT*sizeof(float));
	//state = EXP
	//drawExpPlotFrame();
}
void exp_isr(float x, float y){

	//FILE OPERATIONS
	add_record_experiment(x, y);

	//PLOT OPERATIONS
	drawPoint( x,  y);

}
void exp_end(){
	close_file();
}

/* USER CODE END 4 */

void Error_Handler(void)
{
}

/************************ (C) COPYRIGHT STMicroelectronics *****END OF FILE****/
